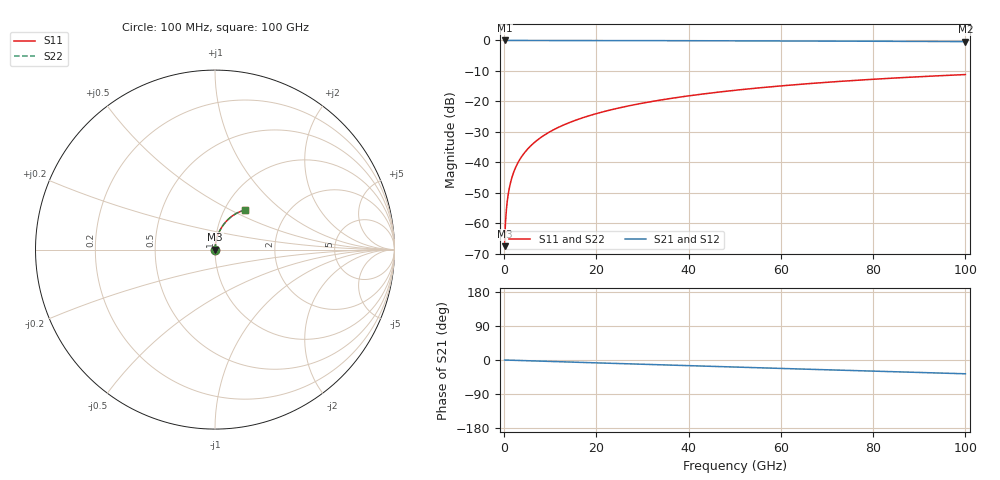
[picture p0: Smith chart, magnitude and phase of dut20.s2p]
! Touchstone file exported from HFSS 2026.1.0
!  File:  C:/ffzhzh/LocalFiles/Ansys_Project_Files/temp_train_TSV_20_1783504404_44152.aedt
!  Generated:  05:54:47 PM Jul  8, 2026
!  Design:  TSV
!  Project:  temp_train_TSV_20_1783504404_44152
! Variables:
!  h_bsmrdl = 2um
!  h_ox = 20um
!  h_rdl = 5um
!  h_sub = 60.13um
!  h_tmrdl = 5um
!  h_tsv = 60.13um
!  h_via = 3um
!  l_bsmrdl = 300um
!  l_sub = 411.78um
!  l_tmrdl = 200um
!  m_sub = 200um
!  pitch = 49.2um
!  r_tsv = 5.89um
!  s_tmrdl = 10um
!  w_bsmrdl = 18um
!  w_sub = 500um
!  w_tmrdl = 12um
!  x_tsv_center1 = 206um
!  x_tsv_center2 = 524um
!  x_tsv_center3 = 736um
!  x_tsv_center4 = 1054um
!  x_tsv_center5 = 1266um
!  x_tsv_center6 = 1584um
# GHz S MA R 50.000000
! Terminal data exported
! Port[1] = TSV1_1_T1
! Port[2] = TSV1_1_T2
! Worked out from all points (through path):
!   1000 points, 100 MHz to 100 GHz, reference 50 ohm
!   highest |S21| = 0.00 dB at 100 MHz (marker M1); lowest = -0.4 dB at 100 GHz (marker M2)
!   group delay of S21, straight-line fit = 1.01 ps
!   lowest |S11| = -67.5 dB at 100 MHz (marker M3), VSWR 1.00, Z = 50 + j0.0352 ohm
!   |S11| at or under -10 dB: start of sweep to end of sweep
!   |S22| runs from -67.5 to -11.2 dB; largest |S21 - S12| = 3.2e-15
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0.1  0.0004216 56.5  0.9998 -0.0  0.9998 -0.0  0.0004216 56.5
! Gamma 0 0 0 0
! Port Impedance 50 0 50 0
0.4  0.001387 78.9  0.9997 -0.2  0.9997 -0.2  0.001387 78.9
0.7  0.002381 82.9  0.9997 -0.3  0.9997 -0.3  0.002381 82.9
0.8  0.002714 83.5  0.9997 -0.3  0.9997 -0.3  0.002714 83.5
1  0.003378 84.3  0.9997 -0.4  0.9997 -0.4  0.003378 84.3
1.3  0.004371 85.0  0.9996 -0.5  0.9996 -0.5  0.004371 85.0
1.7  0.005687 85.4  0.9996 -0.7  0.9996 -0.7  0.005687 85.4
2.3  0.007641 85.7  0.9995 -0.9  0.9995 -0.9  0.007641 85.7
3  0.009895 85.7  0.9994 -1.2  0.9994 -1.2  0.009895 85.7
3.8  0.01245 85.7  0.9993 -1.5  0.9993 -1.5  0.01245 85.7
4.8  0.01562 85.6  0.9992 -1.8  0.9992 -1.8  0.01562 85.6
6  0.01941 85.4  0.999 -2.3  0.999 -2.3  0.01941 85.4
8.8  0.02823 84.7  0.9986 -3.3  0.9986 -3.3  0.02823 84.7
12.4  0.03951 83.6  0.9981 -4.7  0.9981 -4.7  0.03951 83.6
16.8  0.0532 82.2  0.9972 -6.3  0.9972 -6.3  0.0532 82.2
24.2  0.07598 79.7  0.9955 -9.1  0.9955 -9.1  0.07598 79.7
33.4  0.1038 76.4  0.9927 -12.5  0.9927 -12.5  0.1038 76.4
41.2  0.1268 73.7  0.9898 -15.4  0.9898 -15.4  0.1268 73.7
50.1  0.1523 70.5  0.9861 -18.7  0.9861 -18.7  0.1523 70.5
66.7  0.1974 64.6  0.9777 -24.7  0.9777 -24.7  0.1974 64.6
83.4  0.2389 58.7  0.9682 -30.6  0.9682 -30.6  0.2389 58.8
100  0.2757 53.0  0.9582 -36.4  0.9582 -36.4  0.2757 53.0
